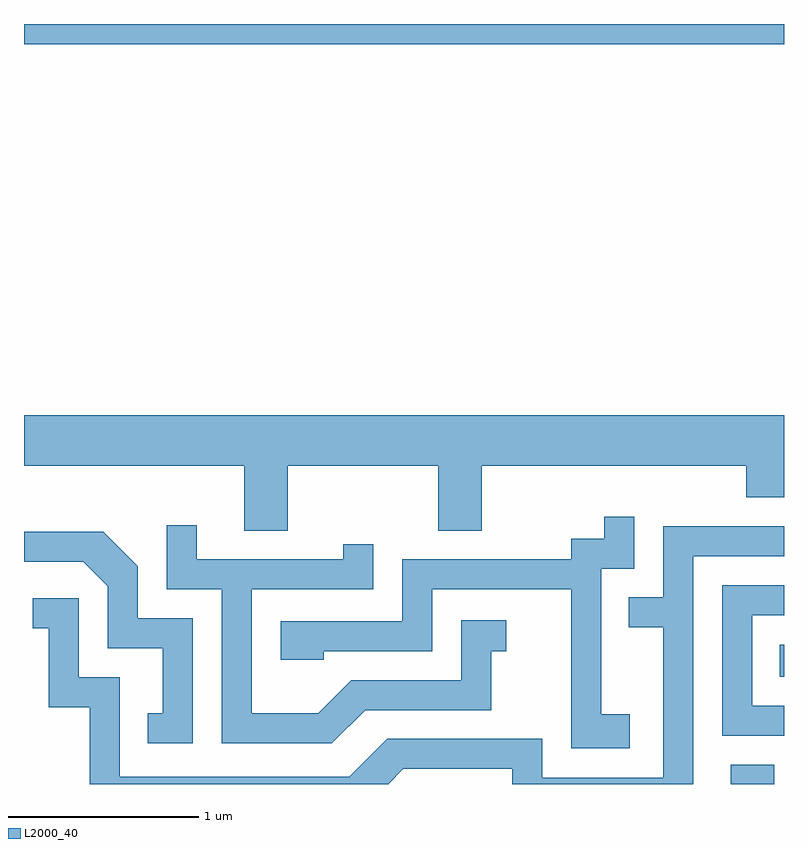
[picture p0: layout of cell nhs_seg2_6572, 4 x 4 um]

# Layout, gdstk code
import gdstk
lib = gdstk.Library(unit=1e-6, precision=1e-09)
def R(c, l, rs):  # rectangles x0, y0, x1, y1
    for r in rs: c.add(gdstk.rectangle(r[:2], r[2:], *l))
def P(c, l, *ps):  # polygons
    for p in ps: c.add(gdstk.Polygon(p, *l))
L2000_40 = (2000, 40)

nhs_seg2_6572 = lib.new_cell('nhs_seg2_6572')
R(nhs_seg2_6572, L2000_40, [(383.331,997.802,383.559,997.904), (383.588,998.366,383.611,998.534), (379.611,1001.696,383.611,1001.802)])
P(nhs_seg2_6572, L2000_40, [(380.999,999.476),(381.791,999.476),(381.791,999.136),(382.019,999.136),(382.019,999.476),(383.411,999.476),(383.411,999.311),(383.611,999.311),(383.611,999.744),(379.611,999.744),(379.611,999.476),(380.771,999.476),(380.771,999.136),(380.999,999.136)],
  [(382.799,998.169),(382.649,998.169),(382.649,998.936),(382.824,998.936),(382.824,999.208),(382.666,999.208),(382.666,999.094),(382.491,999.094),(382.491,998.984),(381.601,998.984),(381.601,998.659),(380.961,998.659),(380.961,998.456),(381.189,998.456),(381.189,998.501),(381.759,998.501),(381.759,998.826),(382.491,998.826),(382.491,997.991),(382.799,997.991)],
  [(381.407,998.191),(382.069,998.191),(382.069,998.501),(382.148,998.501),(382.148,998.664),(381.911,998.664),(381.911,998.349),(381.334,998.349),(381.159,998.174),(380.809,998.174),(380.809,998.826),(381.449,998.826),(381.449,999.063),(381.291,999.063),(381.291,998.984),(380.519,998.984),(380.519,999.163),(380.361,999.163),(380.361,998.826),(380.651,998.826),(380.651,998.016),(381.232,998.016)],
  [(381.607,997.881),(382.181,997.881),(382.181,997.802),(383.134,997.802),(383.134,999.001),(383.611,999.001),(383.611,999.159),(382.976,999.159),(382.976,998.784),(382.793,998.784),(382.793,998.626),(382.976,998.626),(382.976,997.834),(382.339,997.834),(382.339,998.039),(381.524,998.039),(381.324,997.839),(380.114,997.839),(380.114,998.364),(379.899,998.364),(379.899,998.779),(379.658,998.779),(379.658,998.621),(379.741,998.621),(379.741,998.206),(379.956,998.206),(379.956,997.802),(381.528,997.802)],
  [(380.499,998.674),(380.209,998.674),(380.209,998.947),(380.027,999.129),(379.611,999.129),(379.611,998.971),(379.924,998.971),(380.051,998.844),(380.051,998.516),(380.341,998.516),(380.341,998.174),(380.263,998.174),(380.263,998.016),(380.499,998.016)],
  [(383.611,998.214),(383.444,998.214),(383.444,998.691),(383.611,998.691),(383.611,998.849),(383.286,998.849),(383.286,998.056),(383.611,998.056)])

lib.write_gds('nhs_seg2_6572.gds')
